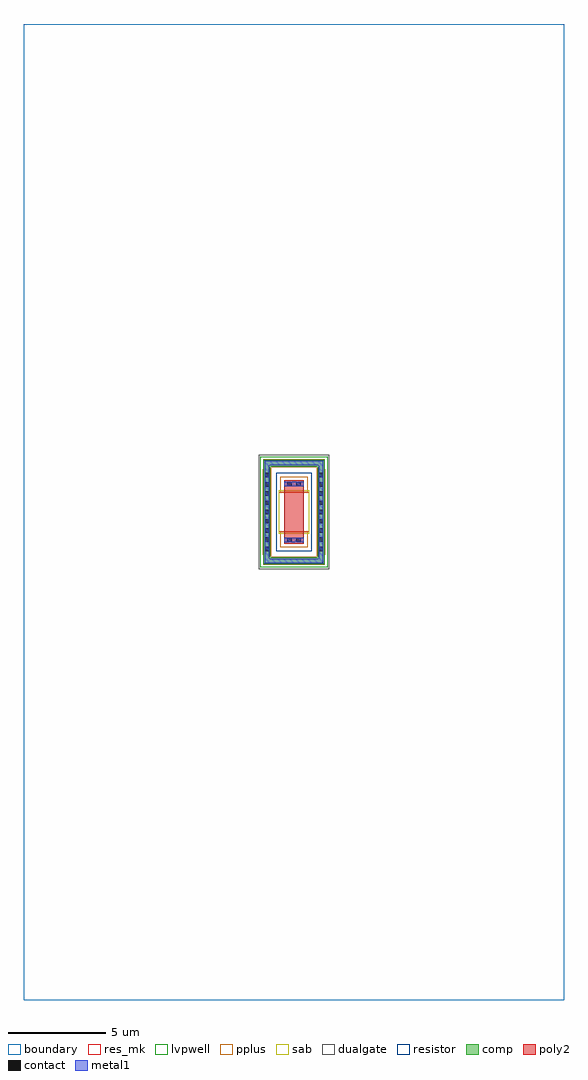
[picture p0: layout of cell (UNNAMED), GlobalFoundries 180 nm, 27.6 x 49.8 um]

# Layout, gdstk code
import gdstk
lib = gdstk.Library(unit=1e-6, precision=1e-09)
def R(c, l, rs):  # rectangles x0, y0, x1, y1
    for r in rs: c.add(gdstk.rectangle(r[:2], r[2:], *l))
def A(c, l, x, y, w, h, nx, ny, dx, dy):  # array of equal rectangles
    R(c, l, [(x+i*dx, y+j*dy, x+i*dx+w, y+j*dy+h) for i in range(nx) for j in range(ny)])
boundary = (0, 0)
comp = (22, 0)
poly2 = (30, 0)
pplus = (31, 0)
contact = (33, 0)
metal1 = (34, 0)
sab = (49, 0)
dualgate = (55, 0)
resistor = (62, 0)
res_mk = (110, 5)
lvpwell = (204, 0)

c__unnamed_ = lib.new_cell('(UNNAMED)')
R(c__unnamed_, boundary, [(-13.8,-24.9,13.8,24.9)])
R(c__unnamed_, comp, [(-1.56,-2.67,1.56,-2.31), (-1.56,-2.31,-1.2,2.31), (1.2,-2.31,1.56,2.31), (-1.56,2.31,1.56,2.67)])
R(c__unnamed_, poly2, [(-0.5,-1.61,0.5,1.61)])
R(c__unnamed_, pplus, [(-1.58,-2.69,1.58,-2.29), (-1.58,-2.29,-1.17,-2.185), (1.17,-2.29,1.58,-2.185), (-1.59,-2.185,-1.17,2.185), (1.17,-2.185,1.59,2.185), (-0.7,-1.81,0.7,-1), (-0.7,1,0.7,1.81), (-1.58,2.185,-1.17,2.29), (1.17,2.185,1.58,2.29), (-1.58,2.29,1.58,2.69)])
A(c__unnamed_, contact, -1.49, -1.99, 0.22, 0.22, 1, 9, 0, 0.47)
A(c__unnamed_, contact, 1.27, -1.99, 0.22, 0.22, 1, 9, 0, 0.47)
R(c__unnamed_, contact, [(-0.345,-1.54,-0.125,-1.32), (0.125,-1.54,0.345,-1.32), (-0.345,1.32,-0.125,1.54), (0.125,1.32,0.345,1.54)])
R(c__unnamed_, metal1, [(-1.495,-2.605,1.495,-2.375), (-1.495,-2.375,-1.265,2.375), (1.265,-2.375,1.495,2.375), (-0.49,-1.545,0.49,-1.315), (-0.49,1.315,0.49,1.545), (-1.495,2.375,1.495,2.605)])
R(c__unnamed_, sab, [(-0.78,-1.1,0.78,1.1), (-0.78,-1,0.78,1)])
R(c__unnamed_, dualgate, [(-1.8,-2.91,1.8,2.91)])
R(c__unnamed_, resistor, [(-0.9,-2.01,0.9,2.01)])
R(c__unnamed_, res_mk, [(-0.78,-1,0.78,1), (-0.5,-1,0.5,1)])
R(c__unnamed_, lvpwell, [(-1.72,-2.83,1.72,2.83)])

lib.write_gds('_UNNAMED_.gds')
